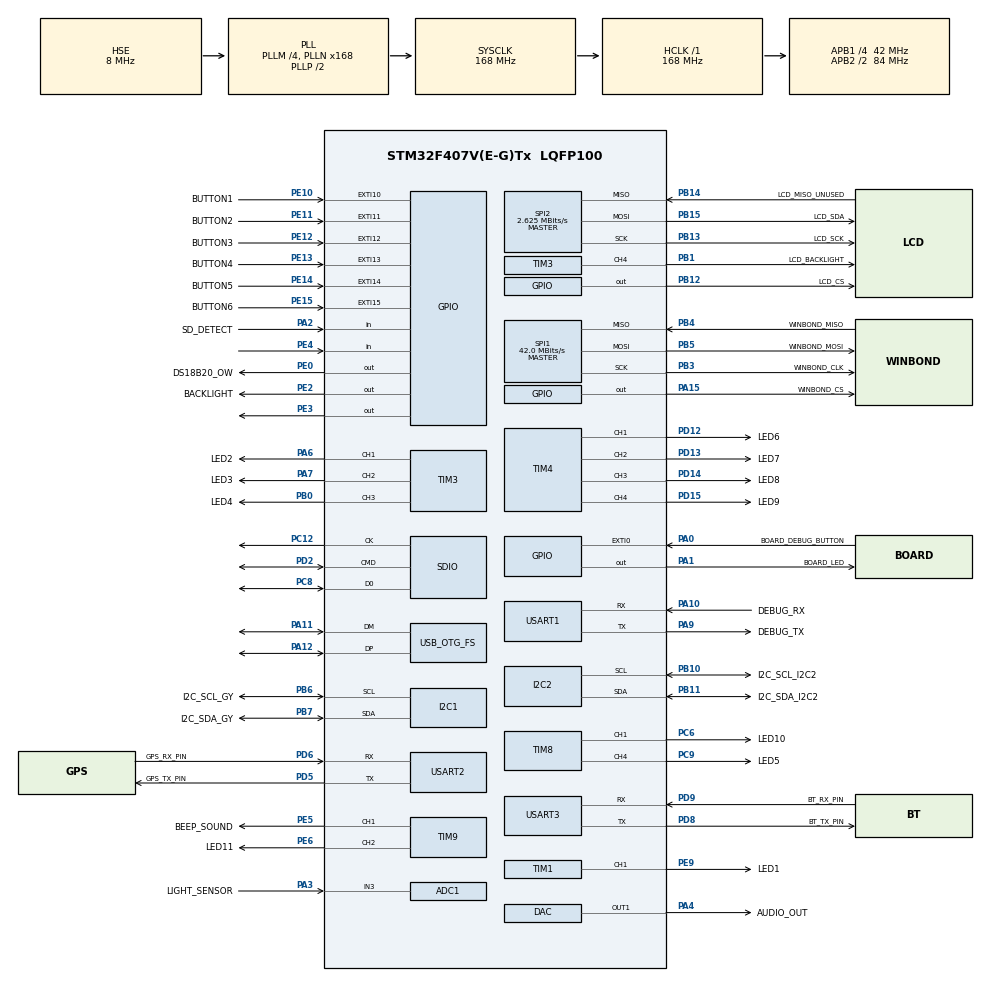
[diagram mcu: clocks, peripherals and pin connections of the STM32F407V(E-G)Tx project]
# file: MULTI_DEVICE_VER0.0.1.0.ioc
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ADC1.Channel-0\#ChannelRegularConversion=ADC_CHANNEL_3
ADC1.NbrOfConversionFlag=1
ADC1.Rank-0\#ChannelRegularConversion=1
ADC1.SamplingTime-0\#ChannelRegularConversion=ADC_SAMPLETIME_3CYCLES
ADC1.master=1
DAC.DAC_Trigger=DAC_TRIGGER_T6_TRGO
Dma.DAC1.0.Direction=DMA_MEMORY_TO_PERIPH
Dma.DAC1.0.FIFOMode=DMA_FIFOMODE_DISABLE
Dma.DAC1.0.Instance=DMA1_Stream5
Dma.DAC1.0.MemDataAlignment=DMA_MDATAALIGN_HALFWORD
Dma.DAC1.0.MemInc=DMA_MINC_ENABLE
Dma.DAC1.0.Mode=DMA_CIRCULAR
Dma.DAC1.0.PeriphDataAlignment=DMA_PDATAALIGN_HALFWORD
Dma.DAC1.0.PeriphInc=DMA_PINC_DISABLE
Dma.DAC1.0.Priority=DMA_PRIORITY_HIGH
Dma.Request0=DAC1
FATFS.BSP.number=1
FATFS0.BSP.STBoard=false
FATFS0.BSP.api=Unknown
FATFS0.BSP.instance=PA2
FATFS0.BSP.ip=GPIO
FATFS0.BSP.mode=Input
FATFS0.BSP.name=Detect_SDIO
FATFS0.BSP.solution=PA2
I2C1.I2C_Mode=I2C_Fast
I2C2.I2C_Mode=I2C_Fast
IWDG.Prescaler=IWDG_PRESCALER_256
Mcu.Family=STM32F4
Mcu.Name=STM32F407V(E-G)Tx
Mcu.Package=LQFP100
NVIC.DMA1_Stream5_IRQn=true\:0\:0\:false\:false\:true\:false\:true\:true
NVIC.EXTI0_IRQn=true\:0\:0\:false\:false\:true\:true\:true\:true
NVIC.EXTI15_10_IRQn=true\:0\:0\:false\:false\:true\:true\:true\:true
NVIC.PriorityGroup=NVIC_PRIORITYGROUP_4
NVIC.TIM7_IRQn=true\:0\:0\:false\:false\:true\:true\:true\:true
NVIC.USART1_IRQn=true\:0\:0\:false\:false\:true\:true\:true\:true
NVIC.USART2_IRQn=true\:0\:0\:false\:false\:true\:true\:true\:true
NVIC.USART3_IRQn=true\:0\:0\:false\:false\:true\:true\:true\:true
PA0-WKUP.GPIO_Label=BOARD_DEBUG_BUTTON
PA0-WKUP.GPIO_PuPd=GPIO_NOPULL
PA0-WKUP.Signal=GPXTI0
PA1.GPIO_Label=BOARD_LED
PA1.Signal=GPIO_Output
PA10.GPIO_Label=DEBUG_RX
PA10.Mode=Asynchronous
PA10.Signal=USART1_RX
PA11.Mode=Device_Only
PA11.Signal=USB_OTG_FS_DM
PA12.Mode=Device_Only
PA12.Signal=USB_OTG_FS_DP
PA15.GPIO_Label=WINBOND_CS
PA15.GPIO_PuPd=GPIO_PULLUP
PA15.PinState=GPIO_PIN_SET
PA15.Signal=GPIO_Output
PA2.GPIO_Label=SD_DETECT
PA2.Signal=GPIO_Input
PA3.GPIO_Label=LIGHT_SENSOR
PA3.Signal=ADCx_IN3
PA4.GPIO_Label=AUDIO_OUT
PA4.Signal=COMP_DAC1_group
PA6.GPIO_Label=LED2
PA6.Signal=S_TIM3_CH1
PA7.GPIO_Label=LED3
PA7.Signal=S_TIM3_CH2
PA9.GPIO_Label=DEBUG_TX
PA9.GPIO_Speed=GPIO_SPEED_FREQ_VERY_HIGH
PA9.Mode=Asynchronous
PA9.Signal=USART1_TX
PB0.GPIO_Label=LED4
PB0.Signal=S_TIM3_CH3
PB1.GPIO_Label=LCD_BACKLIGHT
PB1.Signal=S_TIM3_CH4
PB10.GPIO_Label=I2C_SCL_I2C2
PB10.Mode=I2C
PB10.Signal=I2C2_SCL
PB11.GPIO_Label=I2C_SDA_I2C2
PB11.Mode=I2C
PB11.Signal=I2C2_SDA
PB12.GPIO_Label=LCD_CS
PB12.GPIO_PuPd=GPIO_PULLUP
PB12.PinState=GPIO_PIN_SET
PB12.Signal=GPIO_Output
PB13.GPIO_Label=LCD_SCK
PB13.Mode=Full_Duplex_Master
PB13.Signal=SPI2_SCK
PB14.GPIO_Label=LCD_MISO_UNUSED
PB14.Mode=Full_Duplex_Master
PB14.Signal=SPI2_MISO
PB15.GPIO_Label=LCD_SDA
PB15.Mode=Full_Duplex_Master
PB15.Signal=SPI2_MOSI
PB3.GPIO_Label=WINBOND_CLK
PB3.Mode=Full_Duplex_Master
PB3.Signal=SPI1_SCK
PB4.GPIO_Label=WINBOND_MISO
PB4.Mode=Full_Duplex_Master
PB4.Signal=SPI1_MISO
PB5.GPIO_Label=WINBOND_MOSI
PB5.Mode=Full_Duplex_Master
PB5.Signal=SPI1_MOSI
PB6.GPIO_Label=I2C_SCL_GY
PB6.Mode=I2C
PB6.Signal=I2C1_SCL
PB7.GPIO_Label=I2C_SDA_GY
PB7.Mode=I2C
PB7.Signal=I2C1_SDA
PC12.Mode=SD_1_bit
PC12.Signal=SDIO_CK
PC14-OSC32_IN.Mode=LSE-External-Oscillator
PC14-OSC32_IN.Signal=RCC_OSC32_IN
PC15-OSC32_OUT.Mode=LSE-External-Oscillator
PC15-OSC32_OUT.Signal=RCC_OSC32_OUT
PC6.GPIO_Label=LED10
PC6.Signal=S_TIM8_CH1
PC8.Mode=SD_1_bit
PC8.Signal=SDIO_D0
PC9.GPIO_Label=LED5
PC9.Signal=S_TIM8_CH4
PD12.GPIO_Label=LED6
PD12.Signal=S_TIM4_CH1
PD13.GPIO_Label=LED7
PD13.Signal=S_TIM4_CH2
PD14.GPIO_Label=LED8
PD14.Signal=S_TIM4_CH3
PD15.GPIO_Label=LED9
PD15.Signal=S_TIM4_CH4
PD2.Mode=SD_1_bit
PD2.Signal=SDIO_CMD
PD5.GPIO_Label=GPS_TX_PIN
PD5.Mode=Asynchronous
PD5.Signal=USART2_TX
PD6.GPIO_Label=GPS_RX_PIN
PD6.Mode=Asynchronous
PD6.Signal=USART2_RX
PD8.GPIO_Label=BT_TX_PIN
PD8.Mode=Asynchronous
PD8.Signal=USART3_TX
PD9.GPIO_Label=BT_RX_PIN
PD9.Mode=Asynchronous
PD9.Signal=USART3_RX
PE0.GPIO_Label=DS18B20_OW
PE0.GPIO_ModeDefaultOutputPP=GPIO_MODE_OUTPUT_OD
PE0.GPIO_PuPd=GPIO_NOPULL
PE0.Signal=GPIO_Output
PE10.GPIO_Label=BUTTON1
PE10.GPIO_ModeDefaultEXTI=GPIO_MODE_IT_RISING_FALLING
PE10.GPIO_PuPd=GPIO_PULLUP
PE10.Signal=GPXTI10
PE11.GPIO_Label=BUTTON2
PE11.GPIO_ModeDefaultEXTI=GPIO_MODE_IT_RISING_FALLING
PE11.GPIO_PuPd=GPIO_PULLUP
PE11.Signal=GPXTI11
PE12.GPIO_Label=BUTTON3
PE12.GPIO_ModeDefaultEXTI=GPIO_MODE_IT_RISING_FALLING
PE12.GPIO_PuPd=GPIO_PULLUP
PE12.Signal=GPXTI12
PE13.GPIO_Label=BUTTON4
PE13.GPIO_ModeDefaultEXTI=GPIO_MODE_IT_RISING_FALLING
PE13.GPIO_PuPd=GPIO_PULLUP
PE13.Signal=GPXTI13
PE14.GPIO_Label=BUTTON5
PE14.GPIO_ModeDefaultEXTI=GPIO_MODE_IT_RISING_FALLING
PE14.GPIO_PuPd=GPIO_PULLUP
PE14.Signal=GPXTI14
PE15.GPIO_Label=BUTTON6
PE15.GPIO_ModeDefaultEXTI=GPIO_MODE_IT_RISING_FALLING
PE15.GPIO_PuPd=GPIO_PULLUP
PE15.Signal=GPXTI15
PE2.GPIO_Label=BACKLIGHT
PE2.Signal=GPIO_Output
PE3.Signal=GPIO_Output
PE4.Signal=GPIO_Input
PE5.GPIO_Label=BEEP_SOUND
PE5.Signal=S_TIM9_CH1
PE6.GPIO_Label=LED11
PE6.Signal=S_TIM9_CH2
PE9.GPIO_Label=LED1
PE9.Signal=S_TIM1_CH1
PH0-OSC_IN.Mode=HSE-External-Oscillator
PH0-OSC_IN.Signal=RCC_OSC_IN
PH1-OSC_OUT.Mode=HSE-External-Oscillator
PH1-OSC_OUT.Signal=RCC_OSC_OUT
ProjectManager.HeapSize=0x200
ProjectManager.StackSize=0x400
ProjectManager.TargetToolchain=STM32CubeIDE
RCC.48MHZClocksFreq_Value=48000000
RCC.AHBFreq_Value=168000000
RCC.APB1CLKDivider=RCC_HCLK_DIV4
RCC.APB1Freq_Value=42000000
RCC.APB1TimFreq_Value=84000000
RCC.APB2CLKDivider=RCC_HCLK_DIV2
RCC.APB2Freq_Value=84000000
RCC.APB2TimFreq_Value=168000000
RCC.CortexFreq_Value=168000000
RCC.HCLKFreq_Value=168000000
RCC.HSE_VALUE=8000000
RCC.HSI_VALUE=16000000
RCC.PLLM=4
RCC.PLLN=168
RCC.PLLQ=7
RCC.RCC_RTC_Clock_Source=RCC_RTCCLKSOURCE_LSE
RCC.RCC_RTC_Clock_SourceVirtual=RCC_RTCCLKSOURCE_LSE
RCC.SYSCLKFreq_VALUE=168000000
RCC.SYSCLKSource=RCC_SYSCLKSOURCE_PLLCLK
RCC.VCOOutputFreq_Value=336000000
SH.ADCx_IN3.0=ADC1_IN3,IN3
SH.COMP_DAC1_group.0=DAC_OUT1,DAC_OUT1
SH.S_TIM1_CH1.0=TIM1_CH1,PWM Generation1 CH1
SH.S_TIM3_CH1.0=TIM3_CH1,PWM Generation1 CH1
SH.S_TIM3_CH2.0=TIM3_CH2,PWM Generation2 CH2
SH.S_TIM3_CH3.0=TIM3_CH3,PWM Generation3 CH3
SH.S_TIM3_CH4.0=TIM3_CH4,PWM Generation4 CH4
SH.S_TIM4_CH1.0=TIM4_CH1,PWM Generation1 CH1
SH.S_TIM4_CH2.0=TIM4_CH2,PWM Generation2 CH2
SH.S_TIM4_CH3.0=TIM4_CH3,PWM Generation3 CH3
SH.S_TIM4_CH4.0=TIM4_CH4,PWM Generation4 CH4
SH.S_TIM8_CH1.0=TIM8_CH1,PWM Generation1 CH1
SH.S_TIM8_CH4.0=TIM8_CH4,PWM Generation4 CH4
SH.S_TIM9_CH1.0=TIM9_CH1,PWM Generation1 CH1
SH.S_TIM9_CH2.0=TIM9_CH2,PWM Generation2 CH2
SPI1.CalculateBaudRate=42.0 MBits/s
SPI1.Direction=SPI_DIRECTION_2LINES
SPI1.Mode=SPI_MODE_MASTER
SPI1.VirtualType=VM_MASTER
SPI2.BaudRatePrescaler=SPI_BAUDRATEPRESCALER_16
SPI2.CalculateBaudRate=2.625 MBits/s
SPI2.Direction=SPI_DIRECTION_2LINES
SPI2.Mode=SPI_MODE_MASTER
SPI2.VirtualType=VM_MASTER
TIM1.Channel-PWM\ Generation1\ CH1=TIM_CHANNEL_1
TIM3.Channel-PWM\ Generation1\ CH1=TIM_CHANNEL_1
TIM3.Channel-PWM\ Generation2\ CH2=TIM_CHANNEL_2
TIM3.Channel-PWM\ Generation3\ CH3=TIM_CHANNEL_3
TIM3.Channel-PWM\ Generation4\ CH4=TIM_CHANNEL_4
TIM4.Channel-PWM\ Generation1\ CH1=TIM_CHANNEL_1
TIM4.Channel-PWM\ Generation2\ CH2=TIM_CHANNEL_2
TIM4.Channel-PWM\ Generation3\ CH3=TIM_CHANNEL_3
TIM4.Channel-PWM\ Generation4\ CH4=TIM_CHANNEL_4
TIM6.Period=3499
TIM7.Period=499
TIM7.Prescaler=8399
TIM8.Channel-PWM\ Generation1\ CH1=TIM_CHANNEL_1
TIM8.Channel-PWM\ Generation4\ CH4=TIM_CHANNEL_4
TIM9.Channel-PWM\ Generation1\ CH1=TIM_CHANNEL_1
TIM9.Channel-PWM\ Generation2\ CH2=TIM_CHANNEL_2
USART1.VirtualMode=VM_ASYNC
USART2.VirtualMode=VM_ASYNC
USART3.VirtualMode=VM_ASYNC
USB_OTG_FS.VirtualMode=Device_Only
VP_ADC1_Vbat_Input.Mode=IN-Vbat
VP_ADC1_Vref_Input.Mode=IN-Vrefint
VP_FATFS_VS_SDIO.Mode=SDIO
VP_IWDG_VS_IWDG.Mode=IWDG_Activate
VP_RTC_VS_RTC_Activate.Mode=RTC_Enabled
VP_TIM6_VS_ClockSourceINT.Mode=Enable_Timer
VP_TIM7_VS_ClockSourceINT.Mode=Enable_Timer
board=custom

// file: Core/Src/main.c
/* USER CODE BEGIN Header */
/**
  ******************************************************************************
  * @file           : main.c
  * @brief          : Main program body
  ******************************************************************************
  * @attention
  *
  * Copyright (c) 2026 STMicroelectronics.
  * All rights reserved.
  *
  * This software is licensed under terms that can be found in the LICENSE file
  * in the root directory of this software component.
  * If no LICENSE file comes with this software, it is provided AS-IS.
  *
  ******************************************************************************
  */
/* USER CODE END Header */
#include "main.h"
#include "adc.h"
#include "dac.h"
#include "dma.h"
#include "fatfs.h"
#include "i2c.h"
#include "iwdg.h"
#include "rtc.h"
#include "sdio.h"
#include "spi.h"
#include "tim.h"
#include "usart.h"
#include "usb_otg.h"
#include "gpio.h"

/* USER CODE BEGIN Includes */

#include "APP_PRODUCT_INIT.h"

/* 디스플레이 작동을 위한 헤더 */
#include "u8g2_uc1608_stm32.h"
#include "u8g2.h"

/* 디스플레이 작동을 위한 헤더 */
#include <math.h>
#include <stdio.h>

/* 데이터 창고 APP_STATE. 모든 함수는 앱스테이트를 보고 거기서 복사해 와야 한다. */
#include "APP_STATE.h"
#include "APP_ALTITUDE.h"

/* 유블록스 NEO_M10 GPS 드라이버 */
#include "Ublox_GPS.h"

/* 치명 에러 발생시 디스플레이에 띄우는 핸들링을 위한 헤더 */
#include "APP_FAULT.h"

/* 새 센서 드라이버 */
#include "GY86_IMU.h"
#include "DS18B20_DRIVER.h"

/* BUTTONS DRIVER */
#include "button.h"

/* SD CARD WRITE HIGH LEVEL LAYER */
#include "APP_SD.h"

/* BRIGHTNESS SENSOR DETECTION */
#include "Brightness_Sensor.h"

/* Bluetooth bring-up / 무선 시리얼 드라이버 */
#include "Bluetooth.h"

/* 유선 UART 로그 출력 helper */
#include "DEBUG_UART.h"

#include "SPI_Flash.h"

/* DAC + DMA 오디오 엔진 */
#include "Audio_Driver.h"
#include "Audio_Presets.h"
#include "Audio_App.h"

/* FAULT DETECTOR */
#include "APP_FAULT_DIAG.h"

/* FIRMWARE APP GUARD */
#include "FW_AppGuard.h"

/* LED DRIVER */
#include "LED_App.h"

/* BACKLIGHT DRIVER */
#include "BACKLIGHT_App.h"

/* PWR MGNT */
#include "POWER_STATE.h"

/* POST */
#include "BOOT_SELFTEST_SCREEN.h"
/* MOTORBIKE DYNAMICS CALCULATION */
#include "BIKE_DYNAMICS.h"

#ifndef M_PI
#define M_PI 3.14159265358979323846
#endif

/* USER CODE END Includes */

/* USER CODE BEGIN PD */

/* -------------------------------------------------------------------------- */
/*  앱 부팅 확정 지연 시간                                                     */
/*                                                                            */
/*  목적                                                                       */
/*  - FW_AppGuard_ConfirmBootOk()를 너무 이르게 호출하면,                      */
/*    실제 서비스 task들이 몇 번 돌아보기도 전에 "정상 부팅 완료" 로           */
/*    판정되어 버릴 수 있다.                                                   */
/*  - 따라서 최소한 짧은 안정화 시간 동안 main loop가 실제로 돈 뒤에만          */
/*    boot confirmed를 세운다.                                                 */
/*                                                                            */
/*  현재 값 2000ms 의미                                                        */
/*  - 초기 boot splash / 각종 task 시작 직후의 즉발성 fault나 hang을            */
/*    unconfirmed boot 범주에 남겨 둔다.                                       */
/*  - 반대로 너무 길게 잡아 정상 부팅에서도 boot fail streak가 누적되는         */
/*    상황은 피하기 위해, 서비스 초기화 관점에서 짧지만 의미 있는 시간으로      */
/*    2초를 사용한다.                                                          */
/* -------------------------------------------------------------------------- */
#define APP_BOOT_CONFIRM_DELAY_MS    2000u

/* -------------------------------------------------------------------------- */
/*  상위 앱 선택                                                               */
/*                                                                            */
/*  지금 단계에서는 단순히 main.c의 정적 변수 하나로                         */
/*  Motor_App / Vario_App 중 어느 슈퍼루프를 돌릴지 선택한다.                 */
/*                                                                            */
/*  - 1 : Motor_App                                                           */
/*  - 0 : Vario_App                                                           */
/* -------------------------------------------------------------------------- */
/* -------------------------------------------------------------------------- */
/*  Product divergence routing                                                */
/*                                                                            */
/*  Cube-generated main.c should know as little as possible about             */
/*  MOTOR_APP vs VARIO_APP.                                                   */
/*                                                                            */
/*  Product-dependent dispatch therefore lives in APP_PRODUCT_INIT.c, which   */
/*  is called only through stable hook functions inside USER CODE sections.   */
/* -------------------------------------------------------------------------- */

/* USER CODE END PD */

void SystemClock_Config(void);

/* USER CODE BEGIN 0 */

  /* -------------------------------------------------------------------------- */
  /*  런타임 IRQ priority 보정                                                    */
  /*                                                                            */
  /*  CubeMX / .ioc 재생성 후에도 최종 priority를 코드에서 다시 덮어써서         */
  /*  GPS RX가 항상 UI timer보다 먼저 처리되게 만든다.                           */
  /* -------------------------------------------------------------------------- */
  static void APP_ApplyRuntimeInterruptPriorities(void)
  {
      /* ---------------------------------------------------------------------- */
      /*  오디오 DAC DMA는 이 시스템에서 가장 deadline 민감도가 높다.             */
      /*  따라서 DMA1_Stream5(DAC1 CH1)는 최상위 priority로 둔다.                */
      /* ---------------------------------------------------------------------- */
      HAL_NVIC_SetPriority(DMA1_Stream5_IRQn, 0, 0);
      HAL_NVIC_EnableIRQ(DMA1_Stream5_IRQn);

      /* ---------------------------------------------------------------------- */
      /*  GPS RX는 direct IRQ parser를 사용하므로,                               */
      /*  오디오 다음 우선순위로 둔다.                                            */
      /* ---------------------------------------------------------------------- */
      HAL_NVIC_SetPriority(USART2_IRQn, 1, 0);
      HAL_NVIC_EnableIRQ(USART2_IRQn);

      /* ---------------------------------------------------------------------- */
      /*  Bluetooth UART는 GPS 다음 단계.                                        */
      /*  TX도 이제 interrupt-driven queue를 쓰므로 IRQ priority가 의미 있다.     */
      /* ---------------------------------------------------------------------- */
      HAL_NVIC_SetPriority(USART3_IRQn, 2, 0);
      HAL_NVIC_EnableIRQ(USART3_IRQn);

      /* ---------------------------------------------------------------------- */
      /*  20Hz UI frame timer는 deadline이 가장 느슨한 축이므로 더 낮게 둔다.     */
      /* ---------------------------------------------------------------------- */
      HAL_NVIC_SetPriority(TIM7_IRQn, 4, 0);
      HAL_NVIC_EnableIRQ(TIM7_IRQn);

      /* ---------------------------------------------------------------------- */
      /*  버튼/SD detect EXTI는 사람 입력/삽입 이벤트이므로                       */
      /*  UI timer보다 더 낮은 우선순위로 둔다.                                   */
      /* ---------------------------------------------------------------------- */
      HAL_NVIC_SetPriority(EXTI15_10_IRQn, 5, 0);
      HAL_NVIC_EnableIRQ(EXTI15_10_IRQn);

      HAL_NVIC_SetPriority(EXTI2_IRQn, 5, 0);
      HAL_NVIC_EnableIRQ(EXTI2_IRQn);

      HAL_NVIC_SetPriority(EXTI0_IRQn, 5, 0);
      HAL_NVIC_EnableIRQ(EXTI0_IRQn);

      /* ---------------------------------------------------------------------- */
      /*  유선 DEBUG UART는 가장 낮아도 된다.                                     */
      /*  debug log는 늦어져도 되지만, 오디오/DMA deadline은 늦어지면 안 된다.    */
      /* ---------------------------------------------------------------------- */
      HAL_NVIC_SetPriority(USART1_IRQn, 6, 0);
      HAL_NVIC_EnableIRQ(USART1_IRQn);
  }

  static void APP_BlinkFatalLoop(uint32_t code)
  {
      uint32_t i;
      volatile uint32_t d;

      for (;;)
      {
          for (i = 0u; i < code; i++)
          {
              HAL_GPIO_WritePin(BOARD_LED_GPIO_Port, BOARD_LED_Pin, GPIO_PIN_SET);
              for (d = 0u; d < 250000u; d++) { __NOP(); }
              HAL_GPIO_WritePin(BOARD_LED_GPIO_Port, BOARD_LED_Pin, GPIO_PIN_RESET);
              for (d = 0u; d < 250000u; d++) { __NOP(); }
          }

          for (d = 0u; d < 900000u; d++) { __NOP(); }
      }
  }

  void HAL_UART_RxCpltCallback(UART_HandleTypeDef *huart)
  {
      /* ---------------------------------------------------------------------- */
      /*  현재 프로젝트는                                                        */
      /*    - USART2 : u-blox GPS                                                */
      /*    - USART3 : Bluetooth classic SPP                                     */
      /*  경로를 각각 다른 드라이버에 맡긴다.                                    */
      /*                                                                        */
      /*  각 드라이버가 huart->Instance를 스스로 검사하므로                       */
      /*  여기서는 둘 다 호출해도 안전하다.                                      */
      /* ---------------------------------------------------------------------- */
      Ublox_GPS_OnUartRxCplt(huart);
      Bluetooth_OnUartRxCplt(huart);
  }

  void HAL_UART_TxCpltCallback(UART_HandleTypeDef *huart)
  {
      /* ---------------------------------------------------------------------- */
      /*  TX complete callback은                                                 */
      /*    - USART3 Bluetooth TX queue drain                                    */
      /*    - USART1 DEBUG UART TX queue drain                                   */
      /*  두 경로에 전달한다.                                                    */
      /*                                                                        */
      /*  각 드라이버가 자기 UART instance인지 검사하므로                         */
      /*  여기서 둘 다 호출해도 안전하다.                                        */
      /* ---------------------------------------------------------------------- */
      Bluetooth_OnUartTxCplt(huart);
      DEBUG_UART_OnUartTxCplt(huart);
  }

  void HAL_UART_ErrorCallback(UART_HandleTypeDef *huart)
  {
      Ublox_GPS_OnUartError(huart);
      Bluetooth_OnUartError(huart);
      DEBUG_UART_OnUartError(huart);
  }

  void HAL_TIM_PeriodElapsedCallback(TIM_HandleTypeDef *htim)
  {
    if (htim->Instance == TIM7)
    {
      U8G2_UC1608_FrameTickFromISR();
      APP_PRODUCT_OnFrameTickFromISR();
    }
  }

/* USER CODE END 0 */

int main(void)
{

  /* MCU Configuration--------------------------------------------------------*/

  /* Reset of all peripherals, Initializes the Flash interface and the Systick. */
  HAL_Init();

  /* Configure the system clock */
  SystemClock_Config();

  /* Initialize all configured peripherals */
  MX_GPIO_Init();
  MX_DMA_Init();
  MX_SDIO_SD_Init();
  MX_SPI1_Init();
  MX_SPI2_Init();
  MX_USB_OTG_FS_PCD_Init();
  MX_I2C1_Init();
  MX_USART1_UART_Init();
  MX_USART2_UART_Init();
  MX_USART3_UART_Init();
  MX_FATFS_Init();
  MX_TIM1_Init();
  MX_TIM3_Init();
  MX_TIM4_Init();
  MX_TIM9_Init();
  MX_ADC1_Init();
  MX_RTC_Init();
  MX_TIM7_Init();
  MX_DAC_Init();
  MX_TIM6_Init();
  MX_IWDG_Init();
  MX_TIM8_Init();
  MX_I2C2_Init();
  /* USER CODE BEGIN 2 */

  /* ------------------------------------------------------------------------ */
  /*  Product post-init hand-off after Cube MX_* bring-up                     */
  /*                                                                          */
  /*  Why this exists                                                         */
  /*  - GPIO / peripheral topology is still owned by the shared APP IOC.      */
  /*  - Some runtime ownership decisions, however, are product policy and     */
  /*    must not be hard-coded inside Cube-generated files.                   */
  /*                                                                          */
  /*  Therefore                                                               */
  /*  - Cube config stays common and regeneratable                            */
  /*  - PRODUCT hook may refine runtime ownership without editing gpio.c,     */
  /*    tim.c, usart.c, or other generated files directly                     */
  /*                                                                          */
  /*  Future examples                                                         */
  /*  - MOTOR: IGN sense / AUX rail FET / STOP-STANDBY prep                   */
  /*  - VARIO: battery-gated peripherals / transport lock / soft power flow   */
  /* ------------------------------------------------------------------------ */
  APP_PRODUCT_PostCubePeripheralInit();

  /* ------------------------------------------------------------------------ */
  /*  LED 서브시스템 초기화                                                    */
  /*                                                                          */
  /*  전제                                                                    */
  /*  - MX_TIM1_Init() ~ MX_TIM9_Init() 이 이미 끝난 뒤여야 한다.              */
  /*  - LED_Driver가 여기서 각 PWM 채널을 실제로 start한다.                    */
  /*                                                                          */
  /*  초기 모드                                                                */
  /*  - 전원 인가 직후 한 번은 Welcome sweep를 보여 주고                      */
  /*  - sweep 완료 후에는 LED_App 내부에서 자동으로 Idle breath로 전환된다.    */
  /* ------------------------------------------------------------------------ */
  LED_App_Init();
  /* ------------------------------------------------------------------------ */
  /*  LCD 백라이트 서브시스템 초기화                                            */
  /*                                                                          */
  /*  실제 출력 경로                                                            */
  /*  - LCD 패널 백라이트 PWM 실출력은 PB1 / TIM3_CH4 이다.                    */
  /*  - 이 핀의 alternate function 설정은 Cube가 생성한 MX_TIM3_Init() +       */
  /*    HAL_TIM_MspPostInit()가 이미 끝낸 상태여야 한다.                        */
  /*  - Backlight_App_Init()는 pin mux를 다시 바꾸지 않고,                     */
  /*    BACKLIGHT_DRIVER가 Cube가 만든 PB1 / TIM3_CH4 PWM 채널을 start하고     */
  /*    백라이트 정책 runtime만 초기화한다.                                     */
  /*                                                                          */
  /*  주의                                                                      */
  /*  - Application2/Core/Src/gpio.c 에서 일반 GPIO output으로 잡는 것은       */
  /*    PE2의 BACKLIGHT_Pin 이며, LCD 패널 PWM 출력인 PB1/LCD_BACKLIGHT_Pin과   */
  /*    동일한 핀이 아니다.                                                     */
  /*  - 따라서 PB1 소유권은 TIM3_CH4 + BACKLIGHT_DRIVER 한 경로로만 본다.      */
  /* ------------------------------------------------------------------------ */
  Backlight_App_Init();

  APP_STATE_Init();
  APP_ALTITUDE_Init(HAL_GetTick());
  BIKE_DYNAMICS_Init(HAL_GetTick());

  /* ------------------------------------------------------------------------ */
  /*  RTC / timezone / GPS sync service bring-up                               */
  /*                                                                          */
  /*  MX_RTC_Init() 는 Cube 생성 코드가 이미 수행했고,                          */
  /*  여기서는 backup register metadata load + baseline validity 정리 +       */
  /*  APP_STATE.clock runtime snapshot 초기화를 맡는다.                        */
  /* ------------------------------------------------------------------------ */
  APP_CLOCK_Init(HAL_GetTick());

  FW_AppGuard_OnAppBootStart();

  /* ------------------------------------------------------------------------ */
  /*  유선 DEBUG UART bring-up                                                 */
  /*                                                                          */
  /*  이제부터는 DEBUG_UART_PrintLine / Printf 한 줄로                          */
  /*  USB-UART TTL 어댑터 쪽으로 문자열 로그를 보낼 수 있다.                    */
  /* ------------------------------------------------------------------------ */
  DEBUG_UART_Init();
  DBG_PRINTLN("[BOOT] DEBUG UART ready");

  /* ------------------------------------------------------------------------ */
  /*  버튼 초기화
  /* ------------------------------------------------------------------------ */

  Button_Init();

  /* ------------------------------------------------------------------------ */
  /* 부팅 시 F2 hold maintenance self-test mode / F3 hold legacy UI profile   */
  /*                                                                          */
  /* 규칙                                                                     */
  /* - F2 hold : maintenance self-test mode 진입 latch                        */
  /* - F3 hold : 기존 legacy UI boot profile latch                            */
  /* - 둘 다 눌려도 maintenance mode가 우선이며,                              */
  /*   이때는 UI 엔진의 legacy root를 강제로 타지 않게 한다.                  */
  /* ------------------------------------------------------------------------ */
  const bool boot_f2_held_for_selftest = (Button_IsPressed(BUTTON_ID_2) != false);

  /* ------------------------------------------------------------------------ */
  /*  Product boot-mode arbitration                                           */
  /*                                                                          */
  /*  main.c only publishes the boot-time facts it knows here.                */
  /*  The actual interpretation of those facts is delegated to                */
  /*  APP_PRODUCT_INIT.c so F2/F3 policy, legacy profile routing, and future  */
  /*  product-specific boot overlays stay outside the Cube-generated shell.   */
  /* ------------------------------------------------------------------------ */
  APP_PRODUCT_ConfigureBootMode(boot_f2_held_for_selftest);
  /* ------------------------------------------------------------------------ */
  /* Soft Power 상태머신 초기화                                               */
  /*                                                                          */
  /* 이 초기화는 CubeMX gpio.c 설정을 그대로 믿지 않고,                       */
  /* Soft Power Switch Mk2의 실제 전기적 요구사항에 맞게                       */
  /* OFF/PUSH 핀을 런타임에서 다시 정렬한다.                                   */
  /*                                                                          */
  /* - OFF  : output push-pull / LOW 유지                                      */
  /* - PUSH : input pull-up / active-low 해석                                  */
  /* ------------------------------------------------------------------------ */
  POWER_STATE_Init();

  /* ------------------------------------------------------------------------ */
  /*  Product power-policy post-init                                          */
  /*                                                                          */
  /*  POWER_STATE_Init() restores the common overlay state machine.           */
  /*  Any product-specific runtime ownership that depends on that overlay     */
  /*  being alive must happen after this point, not inside generated code.    */
  /* ------------------------------------------------------------------------ */
  APP_PRODUCT_PostPowerStateInit();

  /* ------------------------------------------------------------------------ */
  /*  새 UI 엔진 초기화                                                        */
  /*                                                                          */
  /*  - 버튼 초기화가 끝난 뒤 현재 눌림 마스크를 안전하게 읽을 수 있다.         */
  /*  - 여기서는 엔진의 내부 상태/하단바/토스트/팝업/legacy debug state를      */
  /*    초기화만 하고, 실제 LCD draw는 아직 하지 않는다.                       */
  /* ------------------------------------------------------------------------ */
  /* ------------------------------------------------------------------------ */
  /*  상위 앱에 따라 UI 상단 계층 초기화를 분기한다.                           */
  /*                                                                          */
  /*  - Motor_App 는 자체 UI 렌더러를 사용하므로 shared UI_Engine을 올리지     */
  /*    않는다.                                                                */
  /*  - Vario_App 는 기존 shared UI_Engine 위에서 계속 동작한다.               */
  /* ------------------------------------------------------------------------ */
  APP_PRODUCT_InitUiSubsystem();

  /* ------------------------------------------------------------------------ */
  /*  CubeMX가 MSP init에서 priority를 다시 생성하더라도                       */
  /*  여기서 최종 priority를 한 번 더 강제로 맞춘다.                           */
  /* ------------------------------------------------------------------------ */
  APP_ApplyRuntimeInterruptPriorities();

  /* ===== Display Init ===== */

  /* ----------------------------------------------------------------------
   *  Display는 가능한 한 먼저 올린다.
   *
   *  이유:
   *  - 직전 부팅의 fault 로그를 이번 부팅 초기에 곧바로 보여주기 위해서다.
   *  - 만약 그 전에 다른 주변장치 init가 다시 fault를 내면, fault viewer가
   *    화면에 뜰 기회조차 없이 재리셋될 수 있다.
   * --------------------------------------------------------------------*/
  U8G2_UC1608_Init();

  /* ----------------------------------------------------------------------
   *  직전 부팅 fault 확인 + 10초 표시
   *
   *  fault 로그가 없으면 함수는 즉시 리턴한다.
   *  fault 로그가 있으면:
   *    1) 제목(HARDFAULT / BUSFAULT / USAGEFAULT ...)
   *    2) fault status register dump
   *    3) 친절한 영어 요약 설명
   *    4) 하단 progress bar
   *  를 보여준 뒤 로그를 지운다.
   * --------------------------------------------------------------------*/
  APP_FAULT_BootCheckAndShow(U8G2_UC1608_GetHandle(), 10000u);

  /* -------------------------------------------------------------------- */
  /*  bring-up용 fault 진단 모드를 여기서 한 번 켠다.                     */
  /*                                                                      */
  /*  이 블록은                                                            */
  /*    1) MemManage / BusFault / UsageFault enable                       */
  /*    2) 옵션에 따라 write buffer disable                               */
  /*  를 수행해서                                                          */
  /*  다음번 fault가 다시 나더라도                                         */
  /*  현재보다 훨씬 의미 있는 예외 정보(EXRET / PC / LR)를 남기게 한다.   */
  /* -------------------------------------------------------------------- */
  APP_FAULT_DIAG_EnableBringupMode();

  FW_AppGuard_Kick();

  /* ---------------------------------------------------------------------- */
  /*  새 UI 엔진의 부트 로고를 지금 시점에 한 번 그린다.                      */
  /*                                                                        */
  /*  이후 나머지 센서/통신/스토리지 init가 진행되는 동안                     */
  /*  마지막으로 그려진 이 부트 로고가 화면에 남아 있게 된다.                 */
  /* ---------------------------------------------------------------------- */
  APP_PRODUCT_DrawEarlyBoot();

  /* ---------------------------------------------------------------------- */
  /* Soft Power 부팅 확인 게이트 진입                                        */
  /*                                                                        */
  /* 요구사항                                                                */
  /* - bootloader 에서 app 로 점프한 직후                                    */
  /*   곧바로 전체 화면 확인 UI를 띄운다.                                     */
  /* - 30초 안에 사용자가 LONG PRESS F6 으로 진행을 승인하지 않으면           */
  /*   자동으로 전원을 끈다.                                                  */
  /* - F1 short 는 즉시 전원 OFF 이다.                                       */
  /*                                                                        */
  /* 이 게이트는 아직 일반 런타임 init 를 본격적으로 시작하기 전에            */
  /* 실행해서, 사용자가 전원을 켜자마자 곧바로 의도를 확정할 수 있게 한다.    */
  /* ---------------------------------------------------------------------- */
  APP_PRODUCT_EnterPowerOnConfirmIfRequired(HAL_GetTick());

  /* ---------------------------------------------------------------------- */
  /* boot gate loop                                                          */
  /*                                                                        */
  /* 이 루프에서는                                                            */
  /* - watchdog refresh                                                      */
  /* - F1~F6 버튼 debounce / long press 판정                                 */
  /* - 전원 확인 화면 draw                                                   */
  /* 만 수행한다.                                                            */
  /*                                                                        */
  /* 아직 GPS / Bluetooth / 센서 / SD runtime init 를 시작하지 않으므로       */
  /* 사용자가 POWER ON 을 취소했을 때 깔끔하게 바로 꺼질 수 있다.            */
  /* ---------------------------------------------------------------------- */
  while (POWER_STATE_IsUiBlocking() != false)
  {
      uint32_t power_gate_now_ms;

      power_gate_now_ms = HAL_GetTick();

      /* ------------------------------------------------------------------ */
      /* IWDG 가 이미 살아 있는 빌드에서도                                   */
      /* 사용자가 확인 화면에서 30초를 다 쓰는 동안 리셋되지 않게 한다.       */
      /* ------------------------------------------------------------------ */
      FW_AppGuard_Kick();

      /* ------------------------------------------------------------------ */
      /* F1/F6 이벤트는 기존 button.c 의 event queue 를 그대로 사용한다.     */
      /* ------------------------------------------------------------------ */
      Button_Task(power_gate_now_ms);

      /* ------------------------------------------------------------------ */
      /* boot gate 전용 power UI task                                        */
      /* - frame token 없이 직접 redraw                                       */
      /* - F1 short / LONG F6 / timeout 처리                                  */
      /* ------------------------------------------------------------------ */
      APP_PRODUCT_ServiceBootGate(power_gate_now_ms);
  }

  /* Display가 준비된 뒤, 나머지 런타임 init를 진행한다. */
  Init_Ublox_M10(); // NEO-M10 GPS Initialization

  /* --------------------------------------------------------------------
   *  Bluetooth classic SPP bring-up
   *
   *  - 기본값은 huart3 + 9600 8N1
   *  - RX interrupt를 시작해서 수신 바이트를 ring에 적재한다.
   *  - 이후 main loop의 Bluetooth_Task()가 line 단위로 해석한다.
   * ------------------------------------------------------------------*/
  Bluetooth_Init();
  DBG_PRINTLN("[BOOT] Bluetooth ready");

  /* --------------------------------------------------------------------
   *  센서 드라이버도 이제 APP_STATE 기반 단일 시간축(main의 now_ms)에 묶는다.
   *  - GY-86 : I2C backend 블록 구조
   *  - DS18B20 : DWT 기반 1-Wire bit-bang
   * ------------------------------------------------------------------*/
  GY86_IMU_Init();
  DS18B20_DRIVER_Init();
  Brightness_Sensor_Init();
  SPI_Flash_Init();

  /* --------------------------------------------------------------------
     *  DAC + DMA 오디오 엔진 bring-up
     *
     *  전제:
     *  - MX_DAC_Init() / MX_TIM6_Init() 는 IOC 생성 코드가 이미 호출한 상태
     *  - 여기서는 runtime에서 sample rate / trigger / content 상태를 정렬한다.
     * ------------------------------------------------------------------*/
    Audio_Driver_Init();

    /* ------------------------------------------------------------------
     *  시작 볼륨은 APP_STATE raw 필드에 직접 대입하지 않고,
     *  반드시 driver API를 통해 적용한다.
     *
     *  이유:
     *  - APP_STATE.audio.volume_percent는 "표시용 raw 창고" 이고
     *  - 실제 출력 gain(Q15 LUT + analog safe headroom)은
     *    Audio_Driver_SetVolumePercent() 안에서 함께 갱신된다.
     * ------------------------------------------------------------------*/
    Audio_Driver_SetVolumePercent(3u);

    Audio_App_Init();

  /* --------------------------------------------------------------------
   *  SD / FATFS hotplug bring-up
   *
   *  MX_FATFS_Init() 는 이미 Cube 생성 코드에서 끝났으므로,
   *  여기서는 detect pin runtime 재설정 + 초기 detect baseline +
   *  필요 시 mount retry state만 올린다.
   * ------------------------------------------------------------------*/
  APP_SD_Init();

  /* -------------------------------------------------------------------- */
  /*  Product post-bringup hand-off                                        */
  /*                                                                      */
  /*  Shared low-level services are now alive. Any product policy that    */
  /*  depends on those services existing, but still must happen before     */
  /*  the product app state machine starts, belongs behind this hook.      */
  /* -------------------------------------------------------------------- */
  APP_PRODUCT_PostCommonBringup();

  /* -------------------------------------------------------------------- */
  /* F2 hold maintenance self-test mode                                    */
  /*                                                                        */
  /* - GPS / Bluetooth / GY86 / Audio / SPI Flash / SD init이 끝난 뒤      */
  /*   진입하므로, 새 self-test 루프는 기존 공개 API를 그대로 재사용한다.   */
  /* - 이 함수는 정상 경로에서는 return 하지 않는다.                        */
  /* -------------------------------------------------------------------- */
  if (boot_f2_held_for_selftest != false)
  {
    DBG_PRINTLN("[BOOT] F2 held -> maintenance self-test mode");
    SELFTEST_RunMaintenanceModeLoop();
  }

  /* -------------------------------------------------------------------- */
  /* blocking 부트 self-test screen                                       */
  /*                                                                      */
  /* 이 화면은 아래 역할을 동시에 맡는다.                                 */
  /* 1) boot logo를 위쪽에 다시 배치한 self-test 전용 UI draw             */
  /* 2) GPS / IMU / SENSORS / HARDWARE 4개 카테고리 상태 표시             */
  /* 3) 전원 ON 확인 화면에서 남아 있는 F6 release 등 잔상 버튼 이벤트를  */
  /*    계속 소비해서 일반 런타임 화면으로 새어 들어가지 않게 차단        */
  /* 4) self-test가 끝날 때까지 boot 동안 필요한 background task를        */
  /*    임시 main loop처럼 계속 서비스                                     */
  /*                                                                      */
  /* 주의                                                                  */
  /* - 이 함수는 내부에서 watchdog kick을 계속 수행한다.                  */
  /* - TIM7 frame token이 아직 시작되지 않았으므로                         */
  /*   direct U8G2 commit 방식으로 화면을 갱신한다.                       */
  /* -------------------------------------------------------------------- */
  BOOT_SELFTEST_SCREEN_RunBlocking();

  /* -------------------------------------------------------------------- */
  /*  20fps 화면 갱신용 timer는 TIM7을 사용한다.                            */
  /*  오디오 transport는 TIM6이 맡으므로, 역할을 주석에서도 분리해 둔다.     */
  /* -------------------------------------------------------------------- */
  HAL_TIM_Base_Start_IT(&htim7);

  /* 스마트 업데이트 + FPS 리밋 유지 */
  U8G2_UC1608_EnableSmartUpdate(1);
  U8G2_UC1608_EnableFrameLimit(1);

  //////////////////////////////    BOOT SUCCESS    //////////////////////////////////////////////////
  /* -------------------------------------------------------------------- */
   /*  여기서는 더 이상 즉시 boot confirmed를 세우지 않는다.                 */
   /*                                                                        */
   /*  이유                                                                   */
   /*  - 이 시점은 주변장치 init 호출은 끝났지만,                              */
   /*    실제 서비스 task들이 main loop에서 안정적으로 반복 실행되었다고        */
   /*    보장할 수는 없는 구간이다.                                            */
   /*  - 따라서 지금은 "확정" 대신 "확정 대기 시작 시각" 만 기록한다.         */
   /*                                                                        */
   /*  이후 while(1) 안에서                                                    */
   /*    1) 주요 task들이 실제로 몇 번 돌고                                     */
   /*    2) APP_BOOT_CONFIRM_DELAY_MS 만큼 시간이 흐른 뒤                      */
   /*  FW_AppGuard_ConfirmBootOk()를 딱 한 번 호출한다.                       */
   /* -------------------------------------------------------------------- */

   APP_PRODUCT_RunAppInit();

  /* USER CODE END 2 */

  /* Infinite loop */
  while (1)
  {

    /* USER CODE BEGIN 3 */

    APP_PRODUCT_RunAppTask();

  }

  /* USER CODE END 3 */
}

void SystemClock_Config(void)
{
  RCC_OscInitTypeDef RCC_OscInitStruct = {0};
  RCC_ClkInitTypeDef RCC_ClkInitStruct = {0};

  /** Configure the main internal regulator output voltage
  */
  __HAL_RCC_PWR_CLK_ENABLE();
  __HAL_PWR_VOLTAGESCALING_CONFIG(PWR_REGULATOR_VOLTAGE_SCALE1);

  /** Initializes the RCC Oscillators according to the specified parameters
  * in the RCC_OscInitTypeDef structure.
  */
  RCC_OscInitStruct.OscillatorType = RCC_OSCILLATORTYPE_LSI|RCC_OSCILLATORTYPE_HSE
                              |RCC_OSCILLATORTYPE_LSE;
  RCC_OscInitStruct.HSEState = RCC_HSE_ON;
  RCC_OscInitStruct.LSEState = RCC_LSE_ON;
  RCC_OscInitStruct.LSIState = RCC_LSI_ON;
  RCC_OscInitStruct.PLL.PLLState = RCC_PLL_ON;
  RCC_OscInitStruct.PLL.PLLSource = RCC_PLLSOURCE_HSE;
  RCC_OscInitStruct.PLL.PLLM = 4;
  RCC_OscInitStruct.PLL.PLLN = 168;
  RCC_OscInitStruct.PLL.PLLP = RCC_PLLP_DIV2;
  RCC_OscInitStruct.PLL.PLLQ = 7;
  if (HAL_RCC_OscConfig(&RCC_OscInitStruct) != HAL_OK)
  {
    Error_Handler();
  }

  /** Initializes the CPU, AHB and APB buses clocks
  */
  RCC_ClkInitStruct.ClockType = RCC_CLOCKTYPE_HCLK|RCC_CLOCKTYPE_SYSCLK
                              |RCC_CLOCKTYPE_PCLK1|RCC_CLOCKTYPE_PCLK2;
  RCC_ClkInitStruct.SYSCLKSource = RCC_SYSCLKSOURCE_PLLCLK;
  RCC_ClkInitStruct.AHBCLKDivider = RCC_SYSCLK_DIV1;
  RCC_ClkInitStruct.APB1CLKDivider = RCC_HCLK_DIV4;
  RCC_ClkInitStruct.APB2CLKDivider = RCC_HCLK_DIV2;

  if (HAL_RCC_ClockConfig(&RCC_ClkInitStruct, FLASH_LATENCY_5) != HAL_OK)
  {
    Error_Handler();
  }
}

/* USER CODE BEGIN 4 */

/* -------------------------------------------------------------------------- */
/*  보드 디버그 버튼으로 페이지 전환                                           */
/*                                                                            */
/*  stm32f4xx_it.c 는 이미 EXTI0에서                                           */
/*  HAL_GPIO_EXTI_IRQHandler(BOARD_DEBUG_BUTTON_Pin)를 호출하고 있으므로        */
/*  여기 HAL_GPIO_EXTI_Callback만 구현하면 된다.                               */
/* -------------------------------------------------------------------------- */
void HAL_GPIO_EXTI_Callback(uint16_t GPIO_Pin)
{
  uint32_t now_ms;

  switch (GPIO_Pin)
  {
    case BUTTON1_Pin:
    case BUTTON2_Pin:
    case BUTTON3_Pin:
    case BUTTON4_Pin:
    case BUTTON5_Pin:
    case BUTTON6_Pin:
      /* ------------------------------------------------------------------ */
      /*  BUTTON1~BUTTON6은 공용 버튼 핸들러로 보낸다.                        */
      /*  실제 debounce / short / long 판정은 Button_Task()가 맡는다.        */
      /* ------------------------------------------------------------------ */
      Button_OnExtiInterrupt(GPIO_Pin);
      return;

    case SD_DETECT_Pin:
      /* ------------------------------------------------------------------ */
      /*  SD detect 는 EXTI2에서 들어온다.                                    */
      /*                                                                        */
      /*  여기서는 APP_SD 쪽 debounce state만 갱신하고,                        */
      /*  실제 mount/unmount 판단은 main loop의 APP_SD_Task()가 수행한다.      */
      /* ------------------------------------------------------------------ */
      APP_SD_OnDetectExti();
      return;

    case BOARD_DEBUG_BUTTON_Pin:
      /* ------------------------------------------------------------------ */
      /*  보드 디버그 버튼은 여전히 페이지 넘김용으로 유지한다.                 */
      /*  단, bounce에 의해 여러 번 넘어가지 않게 소프트웨어 debounce를       */
      /*  별도 helper로 묶어 처리한다.                                         */
      /* ------------------------------------------------------------------ */
      break;

    default:
      return;
  }

  now_ms = HAL_GetTick();
  APP_PRODUCT_OnBoardDebugButtonIrq(now_ms);
}

/* USER CODE END 4 */

void Error_Handler(void)
{
  /* USER CODE BEGIN Error_Handler_Debug */
  /* ----------------------------------------------------------------------
   *  기존 코드는 여기서 LED blink loop로 영구 정지했다.
   *
   *  이제는:
   *    1) software fatal record를 남기고
   *    2) 시스템 리셋을 걸어서
   *    3) 다음 부팅 때 U8G2 fault viewer가 내용을 보여주게 만든다.
   *
   *  __builtin_return_address(0)는 "누가 Error_Handler를 불렀는가"를 찾기 위한
   *  best-effort PC 힌트다. 최적화 상태에 따라 완벽하지 않을 수는 있지만,
   *  개발 중에는 꽤 유용하다.
   * --------------------------------------------------------------------*/
  __disable_irq();

#if defined(__GNUC__)
  APP_FAULT_RecordSoftware(APP_FAULT_TYPE_ERROR_HANDLER,
                           (uint32_t)__builtin_return_address(0));
#else
  APP_FAULT_RecordSoftware(APP_FAULT_TYPE_ERROR_HANDLER, 0u);
#endif

  __DSB();
  NVIC_SystemReset();

  /* 이 아래는 정상이라면 도달하지 않는다.
   * 혹시라도 reset이 걸리지 않았다면 기존 blink loop를 fallback으로 유지한다. */
  APP_BlinkFatalLoop(9u);
  while (1)
  {
  }
  /* USER CODE END Error_Handler_Debug */
}
